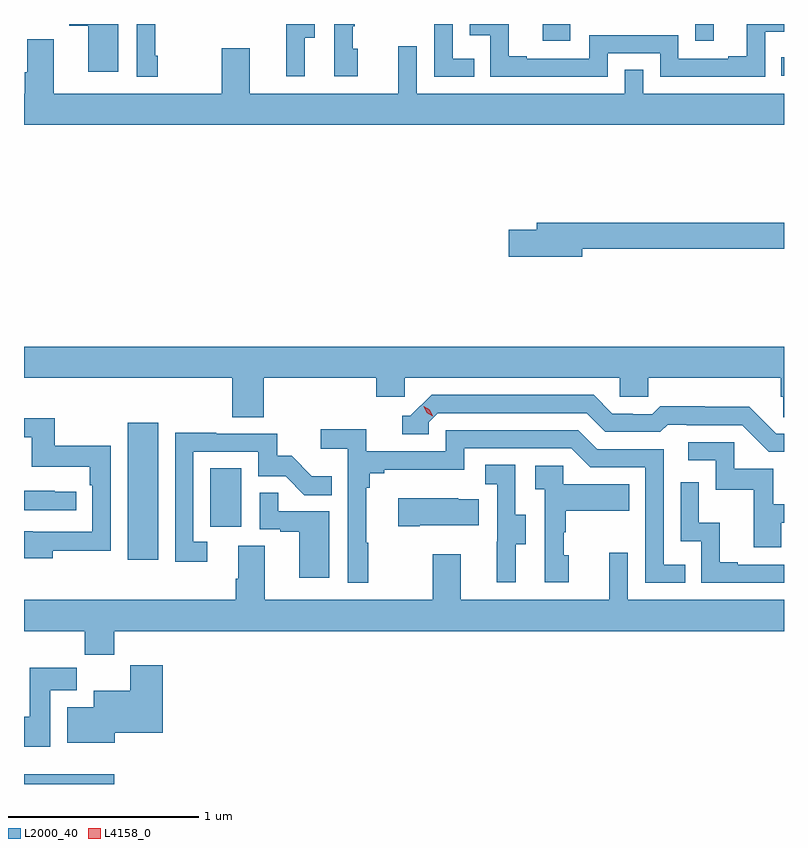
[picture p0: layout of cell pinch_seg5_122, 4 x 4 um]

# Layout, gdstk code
import gdstk
lib = gdstk.Library(unit=1e-6, precision=1e-09)
def R(c, l, rs):  # rectangles x0, y0, x1, y1
    for r in rs: c.add(gdstk.rectangle(r[:2], r[2:], *l))
def P(c, l, *ps):  # polygons
    for p in ps: c.add(gdstk.Polygon(p, *l))
L2000_40 = (2000, 40)
L4158_0 = (4158, 0)

pinch_seg5_122 = lib.new_cell('pinch_seg5_122')
R(pinch_seg5_122, L2000_40, [(1071.654,879.931,1072.13,879.982), (1072.199,881.112,1072.36,881.833), (1072.634,881.286,1072.798,881.593), (1075.639,883.659,1075.654,883.756), (1074.385,883.842,1074.529,883.931), (1075.188,883.842,1075.285,883.931)])
P(pinch_seg5_122, L2000_40, [(1074.726,883.776),(1075.002,883.776),(1075.002,883.653),(1075.554,883.653),(1075.554,883.889),(1075.654,883.889),(1075.654,883.931),(1075.457,883.931),(1075.457,883.762),(1075.361,883.762),(1075.361,883.749),(1075.098,883.749),(1075.098,883.872),(1074.63,883.872),(1074.63,883.749),(1074.301,883.749),(1074.301,883.762),(1074.206,883.762),(1074.206,883.931),(1074,883.931),(1074,883.872),(1074.108,883.872),(1074.108,883.653),(1074.726,883.653)],
  [(1072.357,883.765),(1072.344,883.765),(1072.344,883.931),(1072.248,883.931),(1072.248,883.653),(1072.357,883.653)],
  [(1074.023,883.749),(1073.91,883.749),(1073.91,883.931),(1073.814,883.931),(1073.814,883.653),(1074.023,883.653)],
  [(1072.15,883.931),(1071.893,883.931),(1071.893,883.923),(1071.992,883.923),(1071.992,883.68),(1072.15,883.68)],
  [(1073.41,883.8),(1073.385,883.8),(1073.385,883.919),(1073.395,883.919),(1073.395,883.931),(1073.286,883.931),(1073.286,883.656),(1073.41,883.656)],
  [(1073.131,883.858),(1073.185,883.858),(1073.185,883.931),(1073.034,883.931),(1073.034,883.869),(1073.033,883.869),(1073.033,883.656),(1073.131,883.656)],
  [(1075.654,883.564),(1074.912,883.564),(1074.912,883.691),(1074.816,883.691),(1074.816,883.564),(1073.721,883.564),(1073.721,883.813),(1073.624,883.813),(1073.624,883.564),(1072.843,883.564),(1072.843,883.804),(1072.696,883.804),(1072.696,883.564),(1071.811,883.564),(1071.811,883.85),(1071.671,883.85),(1071.671,883.676),(1071.659,883.676),(1071.659,883.564),(1071.654,883.564),(1071.654,883.4),(1075.654,883.4)],
  [(1074.592,882.748),(1075.654,882.748),(1075.654,882.884),(1074.353,882.884),(1074.353,882.848),(1074.204,882.848),(1074.204,882.706),(1074.592,882.706)],
  [(1072.916,882.068),(1073.507,882.068),(1073.507,881.97),(1073.658,881.97),(1073.658,882.068),(1074.789,882.068),(1074.789,881.97),(1074.939,881.97),(1074.939,882.068),(1075.637,882.068),(1075.637,881.97),(1075.651,881.97),(1075.651,881.86),(1075.654,881.86),(1075.654,882.232),(1071.654,882.232),(1071.654,882.068),(1072.751,882.068),(1072.751,881.86),(1072.916,881.86)],
  [(1075.654,881.775),(1075.614,881.775),(1075.472,881.917),(1075.236,881.917),(1075.236,881.92),(1075.003,881.92),(1074.961,881.877),(1074.858,881.877),(1074.858,881.88),(1074.751,881.88),(1074.652,881.979),(1073.799,881.979),(1073.688,881.868),(1073.645,881.868),(1073.645,881.772),(1073.784,881.772),(1073.784,881.835),(1073.832,881.883),(1074.615,881.883),(1074.714,881.784),(1075.003,881.784),(1075.042,881.823),(1075.141,881.823),(1075.141,881.82),(1075.434,881.82),(1075.575,881.679),(1075.654,881.679)],
  [(1071.805,881.158),(1072.11,881.158),(1072.11,881.71),(1071.817,881.71),(1071.817,881.856),(1071.654,881.856),(1071.654,881.755),(1071.696,881.755),(1071.696,881.6),(1072.001,881.6),(1072.001,881.504),(1072.014,881.504),(1072.014,881.259),(1071.701,881.259),(1071.701,881.26),(1071.654,881.26),(1071.654,881.12),(1071.805,881.12)],
  [(1073.467,881.201),(1073.455,881.201),(1073.455,881.489),(1073.474,881.489),(1073.474,881.566),(1073.551,881.566),(1073.551,881.585),(1073.97,881.585),(1073.97,881.697),(1074.534,881.697),(1074.633,881.598),(1074.924,881.598),(1074.924,880.989),(1075.133,880.989),(1075.133,881.085),(1075.02,881.085),(1075.02,881.694),(1074.67,881.694),(1074.571,881.793),(1073.874,881.793),(1073.874,881.682),(1073.456,881.682),(1073.456,881.798),(1073.217,881.798),(1073.217,881.696),(1073.358,881.696),(1073.358,880.989),(1073.467,880.989)],
  [(1072.618,881.205),(1072.545,881.205),(1072.545,881.679),(1072.887,881.679),(1072.887,881.55),(1073.031,881.55),(1073.129,881.452),(1073.273,881.452),(1073.273,881.551),(1073.169,881.551),(1073.062,881.658),(1072.986,881.658),(1072.986,881.775),(1072.667,881.775),(1072.667,881.78),(1072.449,881.78),(1072.449,881.1),(1072.618,881.1)],
  [(1075.639,881.307),(1075.654,881.307),(1075.654,881.403),(1075.597,881.403),(1075.597,881.589),(1075.392,881.589),(1075.392,881.73),(1075.149,881.73),(1075.149,881.634),(1075.296,881.634),(1075.296,881.481),(1075.495,881.481),(1075.495,881.178),(1075.639,881.178)],
  [(1074.241,881.194),(1074.295,881.194),(1074.295,881.349),(1074.24,881.349),(1074.24,881.612),(1074.081,881.612),(1074.081,881.509),(1074.144,881.509),(1074.144,881.205),(1074.143,881.205),(1074.143,880.992),(1074.241,880.992)],
  [(1074.52,881.136),(1074.495,881.136),(1074.495,881.255),(1074.505,881.255),(1074.505,881.369),(1074.839,881.369),(1074.839,881.509),(1074.492,881.509),(1074.492,881.607),(1074.345,881.607),(1074.345,881.483),(1074.396,881.483),(1074.396,880.992),(1074.52,880.992)],
  [(1075.654,881.085),(1075.411,881.085),(1075.411,881.098),(1075.316,881.098),(1075.316,881.306),(1075.206,881.306),(1075.206,881.518),(1075.11,881.518),(1075.11,881.208),(1075.218,881.208),(1075.218,880.989),(1075.654,880.989)],
  [(1071.928,881.469),(1071.815,881.469),(1071.815,881.474),(1071.654,881.474),(1071.654,881.373),(1071.928,881.373)],
  [(1073.26,881.367),(1072.991,881.367),(1072.991,881.465),(1072.896,881.465),(1072.896,881.271),(1073.003,881.271),(1073.003,881.259),(1073.102,881.259),(1073.102,881.016),(1073.26,881.016)],
  [(1073.737,881.294),(1074.047,881.294),(1074.047,881.431),(1073.939,881.431),(1073.939,881.434),(1073.625,881.434),(1073.625,881.287),(1073.737,881.287)],
  [(1072.13,880.736),(1075.654,880.736),(1075.654,880.9),(1074.831,880.9),(1074.831,881.149),(1074.734,881.149),(1074.734,880.9),(1073.953,880.9),(1073.953,881.14),(1073.806,881.14),(1073.806,880.9),(1072.921,880.9),(1072.921,881.186),(1072.781,881.186),(1072.781,881.012),(1072.769,881.012),(1072.769,880.9),(1071.654,880.9),(1071.654,880.736),(1071.973,880.736),(1071.973,880.612),(1072.13,880.612)],
  [(1072.132,880.202),(1072.385,880.202),(1072.385,880.555),(1072.214,880.555),(1072.214,880.423),(1072.022,880.423),(1072.022,880.336),(1071.881,880.336),(1071.881,880.148),(1072.132,880.148)],
  [(1071.793,880.424),(1071.932,880.424),(1071.932,880.543),(1071.683,880.543),(1071.683,880.284),(1071.654,880.284),(1071.654,880.128),(1071.793,880.128)])
P(pinch_seg5_122, L4158_0, [(1073.806,881.867),(1073.775,881.886),(1073.758,881.919),(1073.758,881.919),(1073.759,881.919),(1073.79,881.9),(1073.806,881.867),(1073.806,881.867)])

lib.write_gds('pinch_seg5_122.gds')
